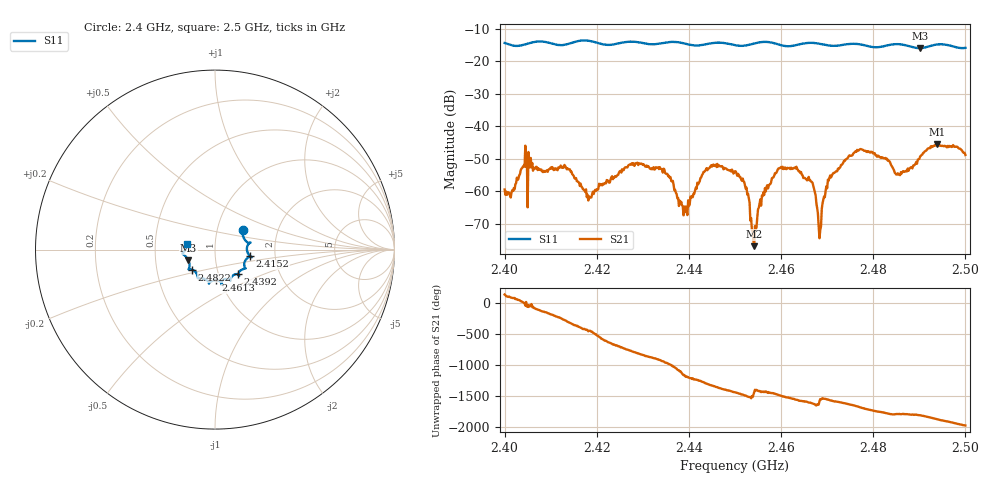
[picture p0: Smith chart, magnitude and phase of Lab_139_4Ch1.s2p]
# Hz S RI R 50
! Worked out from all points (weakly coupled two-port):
!   601 points, 2.4 GHz to 2.5 GHz, reference 50 ohm
!   highest |S21| = -45.57 dB at 2.4938 GHz (marker M1); lowest = -76.9 dB at 2.4542 GHz (marker M2)
!   lowest |S11| = -15.9 dB at 2.4902 GHz (marker M3), VSWR 1.38, Z = 36.9 - j4.59 ohm
!   |S11| at or under -10 dB: start of sweep to end of sweep
!   S12 and S22 are empty: the file has one direction only
!   S11 on the Smith chart (normalised r, x): 2.4 GHz: 1.33, +0.31; 2.4152 GHz: 1.48, -0.11; 2.4392 GHz: 1.24, -0.35; 2.4613 GHz: 0.96, -0.34; 2.4822 GHz: 0.76, -0.17; 2.5 GHz: 0.73, +0.05
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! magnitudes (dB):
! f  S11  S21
! 2.4 GHz  -14.4  -59.4
! 2.4043 GHz  -14.8  -52.4
! 2.4152 GHz  -14.1  -55.9
! 2.4167 GHz  -13.6  -58.6
! 2.4333 GHz  -14.6  -52.6
! 2.4392 GHz  -14.6  -66.3
! 2.4443 GHz  -14.6  -52.9
! 2.45 GHz  -15.0  -53.8
! 2.4525 GHz  -15.1  -58.8
! 2.4542 GHz  -14.5  -76.9
! 2.4563 GHz  -14.0  -61.1
! 2.4613 GHz  -15.3  -52.7
! 2.4667 GHz  -14.3  -57.1
! 2.4683 GHz  -14.6  -74.4
! 2.4703 GHz  -15.1  -56.7
! 2.4743 GHz  -14.7  -49.9
! 2.4822 GHz  -15.4  -49.7
! 2.4833 GHz  -15.0  -50.6
! 2.4853 GHz  -14.7  -54.4
! 2.4902 GHz  -15.9  -49.3
! 2.4938 GHz  -14.8  -45.6
! 2.5 GHz  -15.8  -48.8
